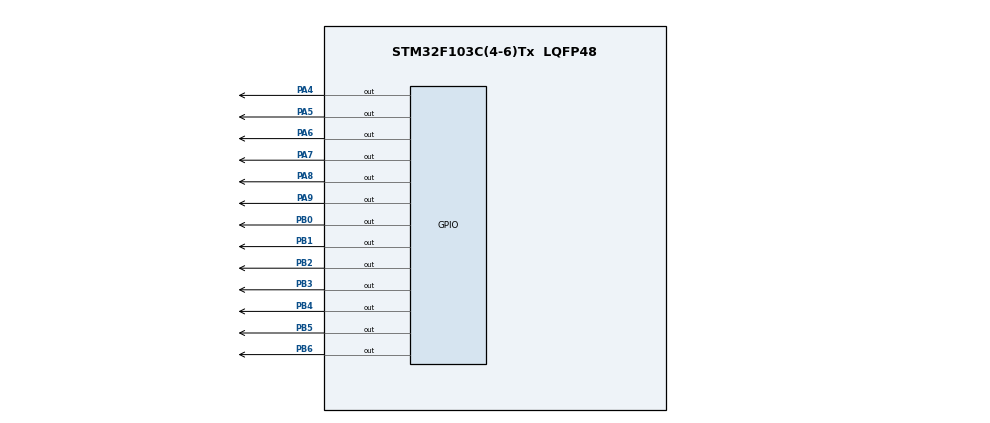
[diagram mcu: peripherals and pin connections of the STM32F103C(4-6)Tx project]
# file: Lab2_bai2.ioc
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Mcu.Family=STM32F1
Mcu.Name=STM32F103C(4-6)Tx
Mcu.Package=LQFP48
NVIC.PriorityGroup=NVIC_PRIORITYGROUP_4
NVIC.TIM2_IRQn=true\:0\:0\:false\:false\:true\:true\:true
PA13.Mode=Serial_Wire
PA13.Signal=SYS_JTMS-SWDIO
PA14.Mode=Serial_Wire
PA14.Signal=SYS_JTCK-SWCLK
PA4.Signal=GPIO_Output
PA5.Signal=GPIO_Output
PA6.Signal=GPIO_Output
PA7.Signal=GPIO_Output
PA8.Signal=GPIO_Output
PA9.Signal=GPIO_Output
PB0.Signal=GPIO_Output
PB1.Signal=GPIO_Output
PB2.Signal=GPIO_Output
PB3.Signal=GPIO_Output
PB4.Signal=GPIO_Output
PB5.Signal=GPIO_Output
PB6.Signal=GPIO_Output
PD0-OSC_IN.Mode=HSE-External-Oscillator
PD0-OSC_IN.Signal=RCC_OSC_IN
PD1-OSC_OUT.Mode=HSE-External-Oscillator
PD1-OSC_OUT.Signal=RCC_OSC_OUT
ProjectManager.HeapSize=0x200
ProjectManager.StackSize=0x400
ProjectManager.TargetToolchain=STM32CubeIDE
RCC.APB1Freq_Value=8000000
RCC.APB2Freq_Value=8000000
RCC.SYSCLKSource=RCC_SYSCLKSOURCE_HSE
TIM2.Period=499
TIM2.Prescaler=7999
VP_TIM2_VS_ClockSourceINT.Mode=Internal
board=custom

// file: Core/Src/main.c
/* USER CODE BEGIN Header */
/**
  ******************************************************************************
  * @file           : main.c
  * @brief          : Main program body
  ******************************************************************************
  * @attention
  *
  * <h2><center>&copy; Copyright (c) 2021 STMicroelectronics.
  * All rights reserved.</center></h2>
  *
  * This software component is licensed by ST under BSD 3-Clause license,
  * the "License"; You may not use this file except in compliance with the
  * License. You may obtain a copy of the License at:
  *                        opensource.org/licenses/BSD-3-Clause
  *
  ******************************************************************************
  */
/* USER CODE END Header */
#include "main.h"

TIM_HandleTypeDef htim2;
uint8_t number = 0;

void SystemClock_Config(void);
static void MX_GPIO_Init(void);
static void MX_TIM2_Init(void);

int main(void)
{

  /* MCU Configuration--------------------------------------------------------*/

  /* Reset of all peripherals, Initializes the Flash interface and the Systick. */
  HAL_Init();

  /* Configure the system clock */
  SystemClock_Config();

  /* Initialize all configured peripherals */
  MX_GPIO_Init();
  MX_TIM2_Init();
  /* USER CODE BEGIN 2 */
  HAL_TIM_Base_Start_IT(&htim2);
  /* USER CODE END 2 */

  /* Infinite loop */
  while (1)
  {

  }
}

void SystemClock_Config(void)
{
  RCC_OscInitTypeDef RCC_OscInitStruct = {0};
  RCC_ClkInitTypeDef RCC_ClkInitStruct = {0};

  /** Initializes the RCC Oscillators according to the specified parameters
  * in the RCC_OscInitTypeDef structure.
  */
  RCC_OscInitStruct.OscillatorType = RCC_OSCILLATORTYPE_HSE;
  RCC_OscInitStruct.HSEState = RCC_HSE_ON;
  RCC_OscInitStruct.PLL.PLLState = RCC_PLL_NONE;
  if (HAL_RCC_OscConfig(&RCC_OscInitStruct) != HAL_OK)
  {
    Error_Handler();
  }
  /** Initializes the CPU, AHB and APB buses clocks
  */
  RCC_ClkInitStruct.ClockType = RCC_CLOCKTYPE_HCLK|RCC_CLOCKTYPE_SYSCLK
                              |RCC_CLOCKTYPE_PCLK1|RCC_CLOCKTYPE_PCLK2;
  RCC_ClkInitStruct.SYSCLKSource = RCC_SYSCLKSOURCE_HSE;
  RCC_ClkInitStruct.AHBCLKDivider = RCC_SYSCLK_DIV1;
  RCC_ClkInitStruct.APB1CLKDivider = RCC_HCLK_DIV1;
  RCC_ClkInitStruct.APB2CLKDivider = RCC_HCLK_DIV1;

  if (HAL_RCC_ClockConfig(&RCC_ClkInitStruct, FLASH_LATENCY_0) != HAL_OK)
  {
    Error_Handler();
  }
}

static void MX_TIM2_Init(void)
{

  TIM_ClockConfigTypeDef sClockSourceConfig = {0};
  TIM_MasterConfigTypeDef sMasterConfig = {0};

  htim2.Instance = TIM2;
  htim2.Init.Prescaler = 7999;
  htim2.Init.CounterMode = TIM_COUNTERMODE_UP;
  htim2.Init.Period = 499;
  htim2.Init.ClockDivision = TIM_CLOCKDIVISION_DIV1;
  htim2.Init.AutoReloadPreload = TIM_AUTORELOAD_PRELOAD_DISABLE;
  if (HAL_TIM_Base_Init(&htim2) != HAL_OK)
  {
    Error_Handler();
  }
  sClockSourceConfig.ClockSource = TIM_CLOCKSOURCE_INTERNAL;
  if (HAL_TIM_ConfigClockSource(&htim2, &sClockSourceConfig) != HAL_OK)
  {
    Error_Handler();
  }
  sMasterConfig.MasterOutputTrigger = TIM_TRGO_RESET;
  sMasterConfig.MasterSlaveMode = TIM_MASTERSLAVEMODE_DISABLE;
  if (HAL_TIMEx_MasterConfigSynchronization(&htim2, &sMasterConfig) != HAL_OK)
  {
    Error_Handler();
  }

}

static void MX_GPIO_Init(void)
{
  GPIO_InitTypeDef GPIO_InitStruct = {0};

  /* GPIO Ports Clock Enable */
  __HAL_RCC_GPIOD_CLK_ENABLE();
  __HAL_RCC_GPIOA_CLK_ENABLE();
  __HAL_RCC_GPIOB_CLK_ENABLE();

  /*Configure GPIO pin Output Level */
  HAL_GPIO_WritePin(GPIOA, GPIO_PIN_4|GPIO_PIN_5|GPIO_PIN_6|GPIO_PIN_7
                          |GPIO_PIN_8|GPIO_PIN_9, GPIO_PIN_RESET);

  /*Configure GPIO pin Output Level */
  HAL_GPIO_WritePin(GPIOB, GPIO_PIN_0|GPIO_PIN_1|GPIO_PIN_2|GPIO_PIN_3
                          |GPIO_PIN_4|GPIO_PIN_5|GPIO_PIN_6, GPIO_PIN_RESET);

  /*Configure GPIO pins : PA4 PA5 PA6 PA7
                           PA8 PA9 */
  GPIO_InitStruct.Pin = GPIO_PIN_4|GPIO_PIN_5|GPIO_PIN_6|GPIO_PIN_7
                          |GPIO_PIN_8|GPIO_PIN_9;
  GPIO_InitStruct.Mode = GPIO_MODE_OUTPUT_PP;
  GPIO_InitStruct.Pull = GPIO_NOPULL;
  GPIO_InitStruct.Speed = GPIO_SPEED_FREQ_LOW;
  HAL_GPIO_Init(GPIOA, &GPIO_InitStruct);

  /*Configure GPIO pins : PB0 PB1 PB2 PB3
                           PB4 PB5 PB6 */
  GPIO_InitStruct.Pin = GPIO_PIN_0|GPIO_PIN_1|GPIO_PIN_2|GPIO_PIN_3
                          |GPIO_PIN_4|GPIO_PIN_5|GPIO_PIN_6;
  GPIO_InitStruct.Mode = GPIO_MODE_OUTPUT_PP;
  GPIO_InitStruct.Pull = GPIO_NOPULL;
  GPIO_InitStruct.Speed = GPIO_SPEED_FREQ_LOW;
  HAL_GPIO_Init(GPIOB, &GPIO_InitStruct);

}

/* USER CODE BEGIN 4 */
void display7SEG(int num)
{
	HAL_GPIO_WritePin(GPIOB, GPIO_PIN_0|GPIO_PIN_1|GPIO_PIN_2|GPIO_PIN_3|GPIO_PIN_4|GPIO_PIN_5|GPIO_PIN_6, GPIO_PIN_SET);
	switch (num)
	{
	case 0: HAL_GPIO_WritePin(GPIOB, GPIO_PIN_0|GPIO_PIN_1|GPIO_PIN_2|GPIO_PIN_3|GPIO_PIN_4|GPIO_PIN_5, GPIO_PIN_RESET);
			break;
	case 1: HAL_GPIO_WritePin(GPIOB, GPIO_PIN_1|GPIO_PIN_2, GPIO_PIN_RESET);
			break;
	case 2: HAL_GPIO_WritePin(GPIOB, GPIO_PIN_0|GPIO_PIN_1|GPIO_PIN_3|GPIO_PIN_4|GPIO_PIN_6, GPIO_PIN_RESET);
			break;
	case 3: HAL_GPIO_WritePin(GPIOB, GPIO_PIN_0|GPIO_PIN_1|GPIO_PIN_2|GPIO_PIN_3|GPIO_PIN_6, GPIO_PIN_RESET);
			break;
	case 4: HAL_GPIO_WritePin(GPIOB, GPIO_PIN_1|GPIO_PIN_2|GPIO_PIN_5|GPIO_PIN_6, GPIO_PIN_RESET);
			break;
	case 5: HAL_GPIO_WritePin(GPIOB, GPIO_PIN_0|GPIO_PIN_2|GPIO_PIN_3|GPIO_PIN_5|GPIO_PIN_6, GPIO_PIN_RESET);
			break;
	case 6: HAL_GPIO_WritePin(GPIOB, GPIO_PIN_0|GPIO_PIN_2|GPIO_PIN_3|GPIO_PIN_4|GPIO_PIN_5|GPIO_PIN_6, GPIO_PIN_RESET);
			break;
	case 7: HAL_GPIO_WritePin(GPIOB, GPIO_PIN_0|GPIO_PIN_1|GPIO_PIN_2, GPIO_PIN_RESET);
			break;
	case 8: HAL_GPIO_WritePin(GPIOB, GPIO_PIN_0|GPIO_PIN_1|GPIO_PIN_2|GPIO_PIN_3|GPIO_PIN_4|GPIO_PIN_5|GPIO_PIN_6, GPIO_PIN_RESET);
			break;
	case 9: HAL_GPIO_WritePin(GPIOB, GPIO_PIN_0|GPIO_PIN_1|GPIO_PIN_2|GPIO_PIN_3|GPIO_PIN_5|GPIO_PIN_6, GPIO_PIN_RESET);
			break;
	default: HAL_GPIO_WritePin(GPIOB, GPIO_PIN_2|GPIO_PIN_3|GPIO_PIN_4|GPIO_PIN_5|GPIO_PIN_6, GPIO_PIN_RESET);
			break;
	}
}

// timer
uint8_t State = 0;
int count = 0;
void HAL_TIM_PeriodElapsedCallback ( TIM_HandleTypeDef * htim ){
	if(htim->Instance == htim2.Instance){
		count++;
		HAL_GPIO_TogglePin(GPIOA, GPIO_PIN_5); // display led every 0.5s
		// FSM
		switch(State){
		case 0:
			HAL_GPIO_WritePin(GPIOA, GPIO_PIN_6, GPIO_PIN_RESET);
			HAL_GPIO_WritePin(GPIOA, GPIO_PIN_7 | GPIO_PIN_8 | GPIO_PIN_9, GPIO_PIN_SET);
			display7SEG(1);
			State = 1;
			break;
		case 1:
			HAL_GPIO_WritePin(GPIOA, GPIO_PIN_7, GPIO_PIN_RESET);
			HAL_GPIO_WritePin(GPIOA, GPIO_PIN_6 | GPIO_PIN_8 | GPIO_PIN_9, GPIO_PIN_SET);
			display7SEG(2);
			State = 2;
			break;
		case 2:
			HAL_GPIO_WritePin(GPIOA, GPIO_PIN_8, GPIO_PIN_RESET);
			HAL_GPIO_WritePin(GPIOA, GPIO_PIN_6 | GPIO_PIN_7 | GPIO_PIN_9, GPIO_PIN_SET);
			display7SEG(3);
			State = 3;
			break;
		case 3:
			HAL_GPIO_WritePin(GPIOA, GPIO_PIN_9, GPIO_PIN_RESET);
			HAL_GPIO_WritePin(GPIOA, GPIO_PIN_6 | GPIO_PIN_7 | GPIO_PIN_8, GPIO_PIN_SET);
			display7SEG(0);
			State = 0;
			break;
		}
		// display led DOT every second (1s)
		if(count==2){
			HAL_GPIO_TogglePin(GPIOA, GPIO_PIN_4);
			count = 0;
		}
	}
}
/* USER CODE END 4 */

void Error_Handler(void)
{
  __disable_irq();
  while (1)
  {
  }
}

/************************ (C) COPYRIGHT STMicroelectronics *****END OF FILE****/
